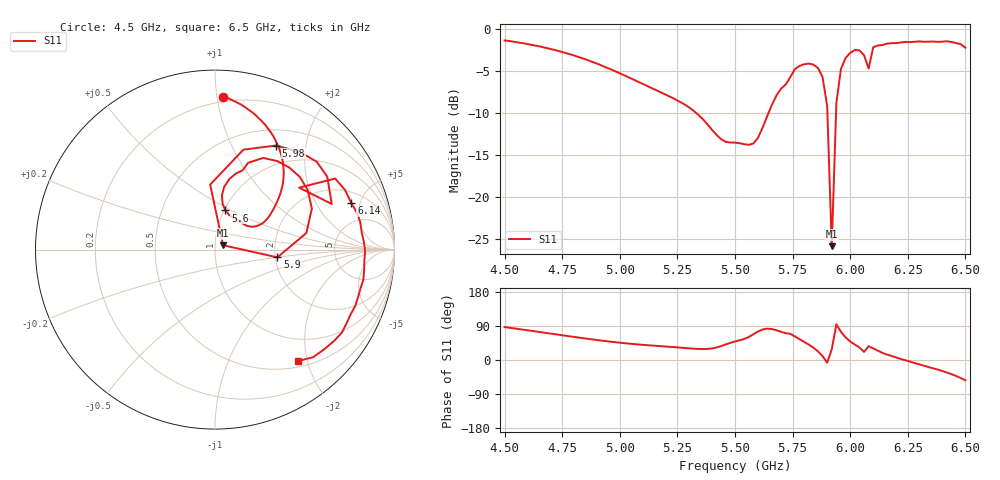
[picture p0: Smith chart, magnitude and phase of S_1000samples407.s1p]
! TOUCHSTONE file generated by CST MICROWAVE STUDIO
! Date and time: Fri Oct 28 01:47:06 2022
! Project name: L.cst
! Parameters = {Di=1.27; Epsilon_r=1.56; InnerDiameter=1.27; Length=2; Lf=10; Lg=60; OuterConductorThickness=0.2921; OuterDiameter=3.6; Wf=3; Wp=41.2; de=1.5; df=6.8; g=0.8; gx=2.78479; gy=4.01134; h=2.34; hf=1.524; px=14.981; py=14.0309; w=9.7; wx=12.1962; wy=10.0196}
! Header version: 2018
! Port assignment regex: !\s*Touchstone port\s*([0-9]+)\s*=\s*(CST MWS port|CST DS port)\s*([0-9]+|Zmin|Zmax)\s*\(\"(.*)\"\)(\s*mode\s*([0-9]+))?.*
! Touchstone port assignment:
! Touchstone port 1 = CST MWS port 1 ("")
# GHz S DB R 50
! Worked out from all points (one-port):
!   101 points, 4.5 GHz to 6.5 GHz, reference 50 ohm
!   lowest |S11| = -25.8 dB at 5.92 GHz (marker M1), VSWR 1.11, Z = 54.7 + j2.66 ohm
!   |S11| at or under -10 dB: 5.332 GHz to 5.645 GHz (313 MHz wide, 5.7 % of centre); 5.901 GHz to 5.939 GHz (37.52 MHz wide, 0.634 % of centre)
!   S11 on the Smith chart (normalised r, x): 4.5 GHz: 0.17, +1.04; 5.6 GHz: 1.01, +0.47; 5.9 GHz: 2.05, -0.20; 5.98 GHz: 0.71, +1.50; 6.14 GHz: 2.85, +4.15; 6.5 GHz: 0.59, -1.84
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4.5  -1.37 86.8
4.76  -2.82 64.4
5  -5.28 45.7
5.26  -8.65 32.7
5.4  -11.97 30.4
5.5  -13.51 48.9
5.56  -13.77 60.9
5.6  -12.92 75.2
5.66  -9.03 81.7
5.74  -5.72 69.1
5.76  -4.78 62.3
5.82  -4.12 40.6
5.86  -4.64 22.9
5.88  -5.72 10.3
5.9  -9.11 -7.1
5.92  -25.81 28.3
5.94  -8.80 94.3
5.96  -4.75 74.1
5.98  -3.45 59.6
6  -2.84 48.9
6.04  -2.55 33.0
6.06  -3.12 21.3
6.08  -4.70 36.4
6.1  -2.18 30.6
6.14  -1.91 18.8
6.26  -1.57 -4.3
6.42  -1.47 -33.2
6.5  -2.23 -53.5
